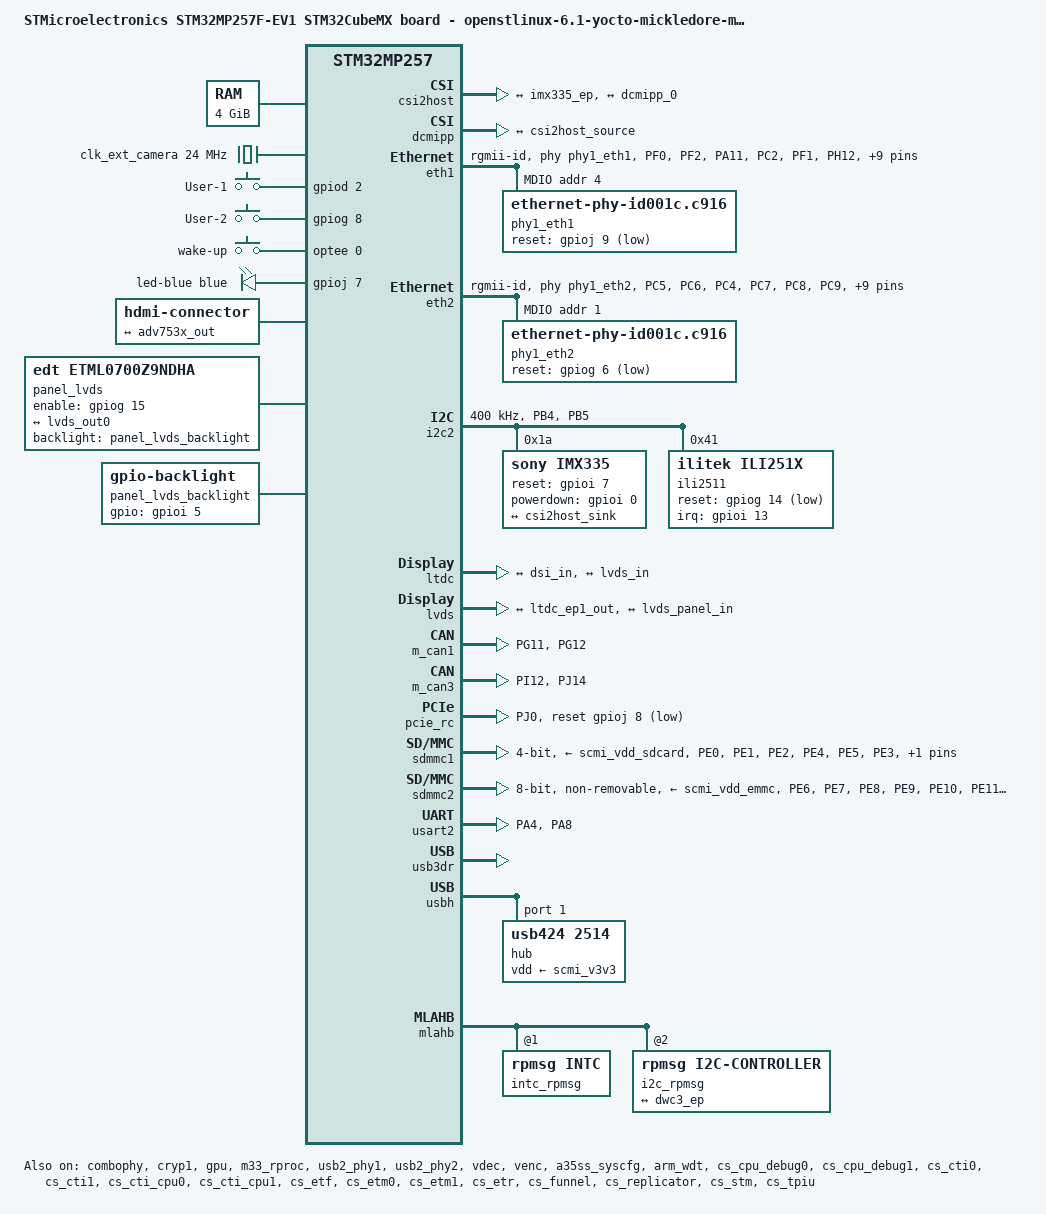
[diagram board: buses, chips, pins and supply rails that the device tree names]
// SPDX-License-Identifier: (GPL-2.0-or-later OR BSD-3-Clause)
/*
 * Copyright (C) 2024, STMicroelectronics - All Rights Reserved
 * Author: STM32CubeMX code generation for STMicroelectronics.
 */

/* For more information on Device Tree configuration, please refer to
 * https://wiki.st.com/stm32mpu/wiki/Category:Device_tree_configuration
 */

/dts-v1/;

#include <dt-bindings/pinctrl/stm32-pinfunc.h>
#include "stm32mp257.dtsi"
#include "stm32mp25xf.dtsi"
#include "stm32mp257f-ev1-mx-resmem.dtsi"
#include "stm32mp25xxai-pinctrl.dtsi"

/* USER CODE BEGIN includes */
#include "stm32mp25-pinctrl.dtsi"
#include <dt-bindings/gpio/gpio.h>
#include <dt-bindings/input/input.h>
#include <dt-bindings/leds/common.h>
#include <dt-bindings/regulator/st,stm32mp25-regulator.h>
/* USER CODE END includes */

/ {
	model = "STMicroelectronics STM32MP257F-EV1 STM32CubeMX board - openstlinux-6.1-yocto-mickledore-mpu-v24.06.26";
	compatible = "st,stm32mp257f-ev1-mx", "st,stm32mp257f-ev1", "st,stm32mp257";

	memory@80000000 {
		device_type = "memory";
		reg = <0x0 0x80000000 0x00000001 0x00000000>;

		/* USER CODE BEGIN memory */
		/* USER CODE END memory */
	};

	/* USER CODE BEGIN root */

	aliases{
		ethernet0 = &eth2;
		ethernet1 = &eth1;
		serial0 = &usart2;
		serial1 = &usart6;
		serial2 = &lpuart1;
	};

	chosen{
		stdout-path = "serial0:115200n8";
		#address-cells = <2>;
		#size-cells = <2>;
		ranges;
		framebuffer {
			compatible = "simple-framebuffer";
			clocks = <&rcc CK_BUS_LTDC>, <&rcc CK_KER_LTDC>,
				 <&rcc CK_BUS_LVDS>, <&rcc CK_KER_LVDSPHY>;
			status = "disabled";
		};
	};

	clocks{

		cec_clock:cec-clock{
			compatible = "fixed-clock";
			#clock-cells = <0>;
			clock-frequency = <12000000>;
		};

		clk_ext_camera:clk-ext-camera{
			#clock-cells = <0>;
			compatible = "fixed-clock";
			clock-frequency = <24000000>;
		};

		pad_clk:pad-clk{
			#clock-cells = <0>;
			compatible = "fixed-clock";
			clock-frequency = <100000000>;
		};
	};

	gpio-keys{
		compatible = "gpio-keys";

		button-user-1{
			label = "User-1";
			linux,code = <BTN_1>;
			gpios = <&gpiod 2 GPIO_ACTIVE_HIGH>;
			status = "okay";
		};

		button-user-2{
			label = "User-2";
			linux,code = <BTN_2>;
			gpios = <&gpiog 8 GPIO_ACTIVE_HIGH>;
			status = "okay";
		};

		button-wake-up{
			label = "wake-up";
			linux,code = <KEY_WAKEUP>;
			interrupts-extended = <&optee 0>;
			status = "okay";
		};
	};

	gpio-leds{
		compatible = "gpio-leds";

		led-blue{
			function = LED_FUNCTION_HEARTBEAT;
			color = <LED_COLOR_ID_BLUE>;
			gpios = <&gpioj 7 GPIO_ACTIVE_HIGH>;
			linux,default-trigger = "heartbeat";
			default-state = "off";
		};
	};

	hdmi:connector{
		compatible = "hdmi-connector";
		label = "hdmi";
		type = "a";

		port{

			hdmi_connector_in:endpoint{
				remote-endpoint = <&adv753x_out>;
			};
		};
	};
	panel_lvds:panel-lvds{
		compatible = "edt,etml0700z9ndha", "panel-lvds";
		enable-gpios = <&gpiog 15 GPIO_ACTIVE_HIGH>;
		backlight = <&panel_lvds_backlight>;
		status = "okay";
		width-mm = <156>;
		height-mm = <92>;
		data-mapping = "vesa-24";

		panel-timing{
			clock-frequency = <54000000>;
			hactive = <1024>;
			vactive = <600>;
			hfront-porch = <150>;
			hback-porch = <150>;
			hsync-len = <21>;
			vfront-porch = <24>;
			vback-porch = <24>;
			vsync-len = <21>;
		};

		port{

			lvds_panel_in:endpoint{
				remote-endpoint = <&lvds_out0>;
			};
		};
	};

	panel_lvds_backlight:panel-lvds-backlight{
		compatible = "gpio-backlight";
		gpios = <&gpioi 5 GPIO_ACTIVE_HIGH>;
		default-on;
		default-brightness-level = <1>;
		status = "okay";
	};
	panel_lvds_fhd: panel-lvds-fhd {
		compatible = "edt,etml0700z8dha", "panel-lvds";
		enable-gpios = <&gpiog 15 GPIO_ACTIVE_HIGH>;
		backlight = <&panel_lvds_fhd_backlight>;
		status = "disabled";

		width-mm = <156>;
		height-mm = <88>;
		data-mapping = "vesa-24";

		panel-timing {
			clock-frequency = <148437500>;
			hactive = <1920>;
			vactive = <1080>;
			hsync-len = <20>;
			hfront-porch = <130>;
			hback-porch = <130>;
			vfront-porch = <5>;
			vback-porch = <20>;
			vsync-len = <20>;
		};

		port {
			lvds_panel_fhd_in: endpoint {
			};
		};
	};

	panel_lvds_fhd_backlight: panel-lvds-fhd-backlight {
		compatible = "gpio-backlight";
		gpios = <&gpioi 5 GPIO_ACTIVE_LOW>;
		default-on;
		default-brightness-level = <0>;
		status = "disabled";
	};

	sound: sound {
		compatible = "audio-graph-card";
		label = "STM32MP25-EV1";
		dais = <&i2s2_port>;
		status = "disabled";
	};
	/* USER CODE END root */

}; /*root*/

&pinctrl {

	eth1_mdio_pins_mx: eth1_mdio_mx-0 {
		pins1 {
			pinmux = <STM32_PINMUX('F', 0, AF10)>; /* ETH1_MDC */
			bias-disable;
			drive-push-pull;
			slew-rate = <2>;
			st,io-clk-edge = <0>;
			st,io-retime = <0>;
			st,io-delay-path = <0>;
		};
		pins2 {
			pinmux = <STM32_PINMUX('F', 2, AF10)>; /* ETH1_MDIO */
			bias-disable;
			drive-push-pull;
			slew-rate = <0>;
			st,io-clk-edge = <0>;
			st,io-retime = <0>;
			st,io-delay-path = <0>;
		};
	};

	eth1_mdio_sleep_pins_mx: eth1_mdio_sleep_mx-0 {
		pins {
			pinmux = <STM32_PINMUX('F', 0, ANALOG)>, /* ETH1_MDC */
					 <STM32_PINMUX('F', 2, ANALOG)>; /* ETH1_MDIO */
		};
	};

	eth1_rgmii_pins_mx: eth1_rgmii_mx-0 {
		pins1 {
			pinmux = <STM32_PINMUX('A', 11, AF10)>, /* ETH1_RGMII_RX_CTL */
					 <STM32_PINMUX('C', 2, AF10)>, /* ETH1_RGMII_RXD1 */
					 <STM32_PINMUX('F', 1, AF10)>, /* ETH1_RGMII_RXD0 */
					 <STM32_PINMUX('H', 12, AF10)>, /* ETH1_RGMII_RXD2 */
					 <STM32_PINMUX('H', 13, AF10)>; /* ETH1_RGMII_RXD3 */
			bias-disable;
			drive-push-pull;
			st,io-clk-edge = <1>;
			st,io-retime = <1>;
			st,io-delay-path = <0>;
			st,io-delay = <0x0b0000>;
		};
		pins2 {
			pinmux = <STM32_PINMUX('A', 13, AF10)>, /* ETH1_RGMII_TX_CTL */
					 <STM32_PINMUX('A', 15, AF10)>, /* ETH1_RGMII_TXD0 */
					 <STM32_PINMUX('C', 1, AF10)>, /* ETH1_RGMII_TXD1 */
					 <STM32_PINMUX('H', 10, AF10)>, /* ETH1_RGMII_TXD2 */
					 <STM32_PINMUX('H', 11, AF10)>; /* ETH1_RGMII_TXD3 */
			bias-disable;
			drive-push-pull;
			slew-rate = <2>;
			st,io-clk-edge = <1>;
			st,io-retime = <1>;
			st,io-delay-path = <0>;
			st,io-delay = <0x0b0000>;
		};
		pins3 {
			pinmux = <STM32_PINMUX('A', 14, AF10)>; /* ETH1_RGMII_RX_CLK */
			bias-disable;
			drive-push-pull;
			slew-rate = <0>;
			st,io-clk-edge = <0>;
			st,io-retime = <0>;
			st,io-delay-path = <0>;
		};
		pins4 {
			pinmux = <STM32_PINMUX('C', 0, AF12)>; /* ETH1_RGMII_GTX_CLK */
			bias-disable;
			drive-push-pull;
			slew-rate = <1>;
			st,io-clk-edge = <0>;
			st,io-retime = <0>;
			st,io-delay-path = <0>;
			st,io-delay = <0x0b0000>;
		};
		pins5 {
			pinmux = <STM32_PINMUX('H', 9, AF10)>; /* ETH1_RGMII_CLK125 */
			bias-disable;
			drive-push-pull;
			slew-rate = <2>;
		};
	};

	eth1_rgmii_sleep_pins_mx: eth1_rgmii_sleep_mx-0 {
		pins {
			pinmux = <STM32_PINMUX('A', 11, ANALOG)>, /* ETH1_RGMII_RX_CTL */
					 <STM32_PINMUX('A', 13, ANALOG)>, /* ETH1_RGMII_TX_CTL */
					 <STM32_PINMUX('A', 14, ANALOG)>, /* ETH1_RGMII_RX_CLK */
					 <STM32_PINMUX('A', 15, ANALOG)>, /* ETH1_RGMII_TXD0 */
					 <STM32_PINMUX('C', 0, ANALOG)>, /* ETH1_RGMII_GTX_CLK */
					 <STM32_PINMUX('C', 1, ANALOG)>, /* ETH1_RGMII_TXD1 */
					 <STM32_PINMUX('C', 2, ANALOG)>, /* ETH1_RGMII_RXD1 */
					 <STM32_PINMUX('F', 1, ANALOG)>, /* ETH1_RGMII_RXD0 */
					 <STM32_PINMUX('H', 9, ANALOG)>, /* ETH1_RGMII_CLK125 */
					 <STM32_PINMUX('H', 10, ANALOG)>, /* ETH1_RGMII_TXD2 */
					 <STM32_PINMUX('H', 11, ANALOG)>, /* ETH1_RGMII_TXD3 */
					 <STM32_PINMUX('H', 12, ANALOG)>, /* ETH1_RGMII_RXD2 */
					 <STM32_PINMUX('H', 13, ANALOG)>; /* ETH1_RGMII_RXD3 */
		};
	};

	eth2_mdio_pins_mx: eth2_mdio_mx-0 {
		pins1 {
			pinmux = <STM32_PINMUX('C', 5, AF10)>; /* ETH2_MDIO */
			bias-disable;
			drive-push-pull;
			slew-rate = <0>;
			st,io-clk-edge = <0>;
			st,io-retime = <0>;
			st,io-delay-path = <0>;
		};
		pins2 {
			pinmux = <STM32_PINMUX('C', 6, AF10)>; /* ETH2_MDC */
			bias-disable;
			drive-push-pull;
			slew-rate = <2>;
			st,io-clk-edge = <0>;
			st,io-retime = <0>;
			st,io-delay-path = <0>;
		};
	};

	eth2_mdio_sleep_pins_mx: eth2_mdio_sleep_mx-0 {
		pins {
			pinmux = <STM32_PINMUX('C', 5, ANALOG)>, /* ETH2_MDIO */
					 <STM32_PINMUX('C', 6, ANALOG)>; /* ETH2_MDC */
		};
	};

	eth2_rgmii_pins_mx: eth2_rgmii_mx-0 {
		pins1 {
			pinmux = <STM32_PINMUX('C', 4, AF10)>, /* ETH2_RGMII_TX_CTL */
					 <STM32_PINMUX('C', 7, AF10)>, /* ETH2_RGMII_TXD0 */
					 <STM32_PINMUX('C', 8, AF10)>, /* ETH2_RGMII_TXD1 */
					 <STM32_PINMUX('C', 9, AF10)>, /* ETH2_RGMII_TXD2 */
					 <STM32_PINMUX('C', 10, AF10)>; /* ETH2_RGMII_TXD3 */
			bias-disable;
			drive-push-pull;
			slew-rate = <2>;
			st,io-clk-edge = <1>;
			st,io-retime = <1>;
			st,io-delay-path = <0>;
			st,io-delay = <0x0b0000>;
		};
		pins2 {
			pinmux = <STM32_PINMUX('C', 3, AF10)>, /* ETH2_RGMII_RX_CTL */
					 <STM32_PINMUX('C', 11, AF10)>, /* ETH2_RGMII_RXD3 */
					 <STM32_PINMUX('C', 12, AF10)>, /* ETH2_RGMII_RXD1 */
					 <STM32_PINMUX('F', 9, AF10)>, /* ETH2_RGMII_RXD2 */
					 <STM32_PINMUX('G', 0, AF10)>; /* ETH2_RGMII_RXD0 */
			bias-disable;
			drive-push-pull;
			st,io-clk-edge = <1>;
			st,io-retime = <1>;
			st,io-delay-path = <0>;
			st,io-delay = <0x0b0000>;
		};
		pins3 {
			pinmux = <STM32_PINMUX('F', 6, AF10)>; /* ETH2_RGMII_RX_CLK */
			bias-disable;
			drive-push-pull;
			slew-rate = <0>;
			st,io-clk-edge = <0>;
			st,io-retime = <0>;
			st,io-delay-path = <0>;
		};
		pins4 {
			pinmux = <STM32_PINMUX('F', 7, AF10)>; /* ETH2_RGMII_GTX_CLK */
			bias-disable;
			drive-push-pull;
			slew-rate = <1>;
			st,io-clk-edge = <0>;
			st,io-retime = <0>;
			st,io-delay-path = <0>;
			st,io-delay = <0x0b0000>;
		};
		pins5 {
			pinmux = <STM32_PINMUX('F', 8, AF10)>; /* ETH2_RGMII_CLK125 */
			bias-disable;
			drive-push-pull;
			slew-rate = <2>;
		};
	};

	eth2_rgmii_sleep_pins_mx: eth2_rgmii_sleep_mx-0 {
		pins {
			pinmux = <STM32_PINMUX('C', 3, ANALOG)>, /* ETH2_RGMII_RX_CTL */
					 <STM32_PINMUX('C', 4, ANALOG)>, /* ETH2_RGMII_TX_CTL */
					 <STM32_PINMUX('C', 7, ANALOG)>, /* ETH2_RGMII_TXD0 */
					 <STM32_PINMUX('C', 8, ANALOG)>, /* ETH2_RGMII_TXD1 */
					 <STM32_PINMUX('C', 9, ANALOG)>, /* ETH2_RGMII_TXD2 */
					 <STM32_PINMUX('C', 10, ANALOG)>, /* ETH2_RGMII_TXD3 */
					 <STM32_PINMUX('C', 11, ANALOG)>, /* ETH2_RGMII_RXD3 */
					 <STM32_PINMUX('C', 12, ANALOG)>, /* ETH2_RGMII_RXD1 */
					 <STM32_PINMUX('F', 6, ANALOG)>, /* ETH2_RGMII_RX_CLK */
					 <STM32_PINMUX('F', 7, ANALOG)>, /* ETH2_RGMII_GTX_CLK */
					 <STM32_PINMUX('F', 8, ANALOG)>, /* ETH2_RGMII_CLK125 */
					 <STM32_PINMUX('F', 9, ANALOG)>, /* ETH2_RGMII_RXD2 */
					 <STM32_PINMUX('G', 0, ANALOG)>; /* ETH2_RGMII_RXD0 */
		};
	};

	fdcan1_pins_mx: fdcan1_mx-0 {
		pins1 {
			pinmux = <STM32_PINMUX('G', 11, AF7)>; /* FDCAN1_TX */
			bias-disable;
			drive-push-pull;
			slew-rate = <0>;
		};
		pins2 {
			pinmux = <STM32_PINMUX('G', 12, AF7)>; /* FDCAN1_RX */
			bias-disable;
			drive-push-pull;
		};
	};

	fdcan1_sleep_pins_mx: fdcan1_sleep_mx-0 {
		pins {
			pinmux = <STM32_PINMUX('G', 11, ANALOG)>, /* FDCAN1_TX */
					 <STM32_PINMUX('G', 12, ANALOG)>; /* FDCAN1_RX */
		};
	};

	fdcan3_pins_mx: fdcan3_mx-0 {
		pins1 {
			pinmux = <STM32_PINMUX('I', 12, AF7)>; /* FDCAN3_RX */
			bias-disable;
			drive-push-pull;
		};
		pins2 {
			pinmux = <STM32_PINMUX('J', 14, AF7)>; /* FDCAN3_TX */
			bias-disable;
			drive-push-pull;
			slew-rate = <0>;
		};
	};

	fdcan3_sleep_pins_mx: fdcan3_sleep_mx-0 {
		pins {
			pinmux = <STM32_PINMUX('I', 12, ANALOG)>, /* FDCAN3_RX */
					 <STM32_PINMUX('J', 14, ANALOG)>; /* FDCAN3_TX */
		};
	};

	i2c2_pins_mx: i2c2_mx-0 {
		pins {
			pinmux = <STM32_PINMUX('B', 4, AF9)>, /* I2C2_SDA */
					 <STM32_PINMUX('B', 5, AF9)>; /* I2C2_SCL */
			bias-disable;
			drive-open-drain;
			slew-rate = <0>;
		};
	};

	i2c2_sleep_pins_mx: i2c2_sleep_mx-0 {
		pins {
			pinmux = <STM32_PINMUX('B', 4, ANALOG)>, /* I2C2_SDA */
					 <STM32_PINMUX('B', 5, ANALOG)>; /* I2C2_SCL */
		};
	};

	pcie_pins_mx: pcie_mx-0 {
		pins {
			pinmux = <STM32_PINMUX('J', 0, AF4)>; /* PCIE_CLKREQN */
			bias-disable;
			drive-push-pull;
			slew-rate = <0>;
		};
	};

	pcie_init_pins_mx: pcie_init_mx-0 {
		pins {
			pinmux = <STM32_PINMUX('J', 0, ANALOG)>; /* PCIE_CLKREQN */
		};
	};

	sdmmc1_pins_mx: sdmmc1_mx-0 {
		pins1 {
			pinmux = <STM32_PINMUX('E', 0, AF10)>, /* SDMMC1_D2 */
					 <STM32_PINMUX('E', 1, AF10)>, /* SDMMC1_D3 */
					 <STM32_PINMUX('E', 2, AF10)>, /* SDMMC1_CMD */
					 <STM32_PINMUX('E', 4, AF10)>, /* SDMMC1_D0 */
					 <STM32_PINMUX('E', 5, AF10)>; /* SDMMC1_D1 */
			bias-disable;
			drive-push-pull;
			slew-rate = <1>;
		};
		pins2 {
			pinmux = <STM32_PINMUX('E', 3, AF10)>; /* SDMMC1_CK */
			bias-disable;
			drive-push-pull;
			slew-rate = <3>;
		};
	};

	sdmmc1_opendrain_pins_mx: sdmmc1_opendrain_mx-0 {
		pins1 {
			pinmux = <STM32_PINMUX('E', 0, AF10)>, /* SDMMC1_D2 */
					 <STM32_PINMUX('E', 1, AF10)>, /* SDMMC1_D3 */
					 <STM32_PINMUX('E', 4, AF10)>, /* SDMMC1_D0 */
					 <STM32_PINMUX('E', 5, AF10)>; /* SDMMC1_D1 */
			bias-disable;
			drive-push-pull;
			slew-rate = <1>;
		};
		pins2 {
			pinmux = <STM32_PINMUX('E', 2, AF10)>; /* SDMMC1_CMD */
			bias-disable;
			drive-open-drain;
			slew-rate = <1>;
		};
		pins3 {
			pinmux = <STM32_PINMUX('E', 3, AF10)>; /* SDMMC1_CK */
			bias-disable;
			drive-push-pull;
			slew-rate = <3>;
		};
	};

	sdmmc1_sleep_pins_mx: sdmmc1_sleep_mx-0 {
		pins {
			pinmux = <STM32_PINMUX('E', 0, ANALOG)>, /* SDMMC1_D2 */
					 <STM32_PINMUX('E', 1, ANALOG)>, /* SDMMC1_D3 */
					 <STM32_PINMUX('E', 2, ANALOG)>, /* SDMMC1_CMD */
					 <STM32_PINMUX('E', 3, ANALOG)>, /* SDMMC1_CK */
					 <STM32_PINMUX('E', 4, ANALOG)>, /* SDMMC1_D0 */
					 <STM32_PINMUX('E', 5, ANALOG)>; /* SDMMC1_D1 */
		};
	};

	sdmmc2_pins_mx: sdmmc2_mx-0 {
		pins1 {
			pinmux = <STM32_PINMUX('E', 6, AF12)>, /* SDMMC2_D6 */
					 <STM32_PINMUX('E', 7, AF12)>, /* SDMMC2_D7 */
					 <STM32_PINMUX('E', 8, AF12)>, /* SDMMC2_D2 */
					 <STM32_PINMUX('E', 9, AF12)>, /* SDMMC2_D5 */
					 <STM32_PINMUX('E', 10, AF12)>, /* SDMMC2_D4 */
					 <STM32_PINMUX('E', 11, AF12)>, /* SDMMC2_D1 */
					 <STM32_PINMUX('E', 12, AF12)>, /* SDMMC2_D3 */
					 <STM32_PINMUX('E', 13, AF12)>, /* SDMMC2_D0 */
					 <STM32_PINMUX('E', 15, AF12)>; /* SDMMC2_CMD */
			bias-disable;
			drive-push-pull;
			slew-rate = <1>;
		};
		pins2 {
			pinmux = <STM32_PINMUX('E', 14, AF12)>; /* SDMMC2_CK */
			bias-disable;
			drive-push-pull;
			slew-rate = <3>;
		};
	};

	sdmmc2_opendrain_pins_mx: sdmmc2_opendrain_mx-0 {
		pins1 {
			pinmux = <STM32_PINMUX('E', 6, AF12)>, /* SDMMC2_D6 */
					 <STM32_PINMUX('E', 7, AF12)>, /* SDMMC2_D7 */
					 <STM32_PINMUX('E', 8, AF12)>, /* SDMMC2_D2 */
					 <STM32_PINMUX('E', 9, AF12)>, /* SDMMC2_D5 */
					 <STM32_PINMUX('E', 10, AF12)>, /* SDMMC2_D4 */
					 <STM32_PINMUX('E', 11, AF12)>, /* SDMMC2_D1 */
					 <STM32_PINMUX('E', 12, AF12)>, /* SDMMC2_D3 */
					 <STM32_PINMUX('E', 13, AF12)>; /* SDMMC2_D0 */
			bias-disable;
			drive-push-pull;
			slew-rate = <1>;
		};
		pins2 {
			pinmux = <STM32_PINMUX('E', 14, AF12)>; /* SDMMC2_CK */
			bias-disable;
			drive-push-pull;
			slew-rate = <3>;
		};
		pins3 {
			pinmux = <STM32_PINMUX('E', 15, AF12)>; /* SDMMC2_CMD */
			bias-disable;
			drive-open-drain;
			slew-rate = <1>;
		};
	};

	sdmmc2_sleep_pins_mx: sdmmc2_sleep_mx-0 {
		pins {
			pinmux = <STM32_PINMUX('E', 6, ANALOG)>, /* SDMMC2_D6 */
					 <STM32_PINMUX('E', 7, ANALOG)>, /* SDMMC2_D7 */
					 <STM32_PINMUX('E', 8, ANALOG)>, /* SDMMC2_D2 */
					 <STM32_PINMUX('E', 9, ANALOG)>, /* SDMMC2_D5 */
					 <STM32_PINMUX('E', 10, ANALOG)>, /* SDMMC2_D4 */
					 <STM32_PINMUX('E', 11, ANALOG)>, /* SDMMC2_D1 */
					 <STM32_PINMUX('E', 12, ANALOG)>, /* SDMMC2_D3 */
					 <STM32_PINMUX('E', 13, ANALOG)>, /* SDMMC2_D0 */
					 <STM32_PINMUX('E', 14, ANALOG)>, /* SDMMC2_CK */
					 <STM32_PINMUX('E', 15, ANALOG)>; /* SDMMC2_CMD */
		};
	};

	usart2_pins_mx: usart2_mx-0 {
		pins1 {
			pinmux = <STM32_PINMUX('A', 4, AF6)>; /* USART2_TX */
			bias-disable;
			drive-push-pull;
			slew-rate = <0>;
		};
		pins2 {
			pinmux = <STM32_PINMUX('A', 8, AF8)>; /* USART2_RX */
			bias-disable;
			drive-push-pull;
		};
	};

	usart2_idle_pins_mx: usart2_idle_mx-0 {
		pins1 {
			pinmux = <STM32_PINMUX('A', 4, ANALOG)>; /* USART2_TX */
		};
		pins2 {
			pinmux = <STM32_PINMUX('A', 8, AF8)>; /* USART2_RX */
			bias-disable;
			drive-push-pull;
		};
	};

	usart2_sleep_pins_mx: usart2_sleep_mx-0 {
		pins {
			pinmux = <STM32_PINMUX('A', 4, ANALOG)>, /* USART2_TX */
					 <STM32_PINMUX('A', 8, ANALOG)>; /* USART2_RX */
		};
	};

	/* USER CODE BEGIN pinctrl */
	/* USER CODE END pinctrl */
};

&pinctrl_z {
	/* USER CODE BEGIN pinctrl_z */
	/* USER CODE END pinctrl_z */
};

&combophy{
	status = "okay";

	/* USER CODE BEGIN combophy */
	clocks = <&rcc CK_BUS_USB3PCIEPHY>, <&rcc CK_KER_USB3PCIEPHY>, <&pad_clk>;
	clock-names = "apb-clk", "ker-clk", "pad-clk";
	st,rx_equalizer = <1>;
	/* USER CODE END combophy */
};

&cryp1{
	status = "okay";

	/* USER CODE BEGIN cryp1 */
	/* USER CODE END cryp1 */
};

&csi2host{
	status = "okay";

	/* USER CODE BEGIN csi2host */
	vdd-supply = <&scmi_vddcore>;
	vdda18-supply = <&scmi_v1v8>;

 
	ports{
		#address-cells = <1>;
		#size-cells = <0>;
 
		port@0{
			reg = <0>;
 
			csi2host_sink:endpoint{
				remote-endpoint = <&imx335_ep>;
				data-lanes = <0 1>;
				bus-type = <4>;
			};
		};
 
		port@1{
			reg = <1>;
 
			csi2host_source:endpoint{
				remote-endpoint = <&dcmipp_0>;
			};
		};
	};
	/* USER CODE END csi2host */
};

&dcmipp{
	status = "okay";

	/* USER CODE BEGIN dcmipp */
	port{

		dcmipp_0:endpoint{
			remote-endpoint = <&csi2host_source>;
			bus-type = <4>;
		};
	};
	/* USER CODE END dcmipp */
};

&eth1{
	pinctrl-names = "default", "sleep";
	pinctrl-0 = <&eth1_mdio_pins_mx>, <&eth1_rgmii_pins_mx>;
	pinctrl-1 = <&eth1_mdio_sleep_pins_mx>, <&eth1_rgmii_sleep_pins_mx>;
	status = "okay";

	/* USER CODE BEGIN eth1 */
	phy-mode = "rgmii-id";
	max-speed = <1000>;
	phy-handle = <&phy1_eth1>;
	st,eth-clk-sel;
	snps,ext-systime;

	mdio1{
		#address-cells = <1>;
		#size-cells = <0>;
		compatible = "snps,dwmac-mdio";

		phy1_eth1:ethernet-phy@4{
			compatible = "ethernet-phy-id001c.c916";
			reset-gpios = <&gpioj 9 GPIO_ACTIVE_LOW>;
			reset-assert-us = <10000>;
			reset-deassert-us = <80000>;
			realtek,eee-disable;
			reg = <4>;
		};
	};
	/* USER CODE END eth1 */
};

&eth2{
	pinctrl-names = "default", "sleep";
	pinctrl-0 = <&eth2_mdio_pins_mx>, <&eth2_rgmii_pins_mx>;
	pinctrl-1 = <&eth2_mdio_sleep_pins_mx>, <&eth2_rgmii_sleep_pins_mx>;
	status = "okay";

	/* USER CODE BEGIN eth2 */
	phy-mode = "rgmii-id";
	max-speed = <1000>;
	phy-handle = <&phy1_eth2>;
	st,eth-ptp-from-rcc;

	mdio1{
		#address-cells = <1>;
		#size-cells = <0>;
		compatible = "snps,dwmac-mdio";

		phy1_eth2:ethernet-phy@1{
			compatible = "ethernet-phy-id001c.c916";
			reset-gpios = <&gpiog 6 GPIO_ACTIVE_LOW>;
			reset-assert-us = <10000>;
			reset-deassert-us = <80000>;
			realtek,eee-disable;
			reg = <1>;
		};
	};
	/* USER CODE END eth2 */
};

&gpu{
	status = "okay";

	/* USER CODE BEGIN gpu */
	contiguous-area = <&gpu_reserved>;
	/* USER CODE END gpu */
};

&hpdma{
	status = "okay";

	/* USER CODE BEGIN hpdma */
	memory-region = <&hpdma1_lli>;
	/* USER CODE END hpdma */
};

&hpdma2{
	status = "okay";

	/* USER CODE BEGIN hpdma2 */
	memory-region = <&hpdma2_lli>;
	/* USER CODE END hpdma2 */
};

&hpdma3{
	status = "okay";

	/* USER CODE BEGIN hpdma3 */
	memory-region = <&hpdma3_lli>;
	/* USER CODE END hpdma3 */
};

&i2c2{
	pinctrl-names = "default", "sleep";
	pinctrl-0 = <&i2c2_pins_mx>;
	pinctrl-1 = <&i2c2_sleep_pins_mx>;
	status = "okay";

	/* USER CODE BEGIN i2c2 */
	i2c-scl-rising-time-ns = <100>;
	i2c-scl-falling-time-ns = <13>;
	clock-frequency = <400000>;
	/delete-property/ dmas;
	/delete-property/ dma-names;

	imx335:imx335@1a{
		compatible = "sony,imx335";
		reg = <0x1a>;
		clocks = <&clk_ext_camera>;
		reset-gpios = <&gpioi 7 (GPIO_ACTIVE_HIGH | GPIO_PUSH_PULL)>;
		powerdown-gpios = <&gpioi 0 (GPIO_ACTIVE_HIGH | GPIO_PUSH_PULL)>;
		status = "okay";

		port{

			imx335_ep:endpoint{
				remote-endpoint = <&csi2host_sink>;
				clock-lanes = <0>;
				data-lanes = <1 2>;
				link-frequencies = /bits/ 64 <594000000>;
			};
		};
	};
	adv753x: hdmi@3d {
		/*
		 * With MB1232 board, use "adi,adv7533" (1080p30)
		 * With MB1752 board, use "adi,adv7535" (1080p60)
		 */
		compatible = "adi,adv7533";
		reg = <0x3d>, <0x3c>, <0x3f>, <0x38>;
		reg-names = "main", "cec", "edid", "packet";
		clocks = <&cec_clock>;
		clock-names = "cec";
		interrupt-parent = <&gpiod>;
		interrupts = <10 IRQ_TYPE_EDGE_FALLING>;
		status = "disabled";
		adi,dsi-lanes = <4>;
		reset-gpios = <&gpiog 14 GPIO_ACTIVE_LOW>;
		avdd-supply = <&scmi_v1v8>;
		dvdd-supply = <&scmi_v1v8>;
		pvdd-supply = <&scmi_v1v8>;
		a2vdd-supply = <&scmi_v1v8>;
		v3p3-supply = <&scmi_v3v3>;
		v1p2-supply = <&scmi_v1v8>;

		ports {
			#address-cells = <1>;
			#size-cells = <0>;

			port@0 {
				reg = <0>;
				adv753x_in: endpoint {
					remote-endpoint = <&dsi_out1>;
				};
			};

			port@1 {
				reg = <1>;
				adv753x_out: endpoint {
					remote-endpoint = <&hdmi_connector_in>;
				};
			};

			port@2 {
				reg = <2>;
				adv753x_tx_endpoint: endpoint {
					remote-endpoint = <&i2s2_endpoint>;
				};
			};
		};
	};
	ili2511:ili2511@41{
		compatible = "ilitek,ili251x";
		reg = <0x41>;
		interrupt-parent = <&gpioi>;
		interrupts = <13 IRQ_TYPE_EDGE_FALLING>;
		reset-gpios = <&gpiog 14 GPIO_ACTIVE_LOW>;
		status = "okay";
	};
	/* USER CODE END i2c2 */
};

&ltdc{
	status = "okay";

	/* USER CODE BEGIN ltdc */
	default-on;
	rotation-memory = <&ltdc_sec_rotation>;

	port{
		#address-cells = <1>;
		#size-cells = <0>;

		ltdc_ep0_out:endpoint@0{
			reg = <0>;
			remote-endpoint = <&dsi_in>;
		};

		ltdc_ep1_out:endpoint@1{
			reg = <1>;
			remote-endpoint = <&lvds_in>;
		};
	};
	/* USER CODE END ltdc */
};

&lvds{
	status = "okay";

	/* USER CODE BEGIN lvds */
	default-on;
	vdd-supply = <&scmi_vddcore>;
	vdda18-supply = <&scmi_v1v8>;

	ports{
		#address-cells = <1>;
		#size-cells = <0>;

		port@0{
			reg = <0>;

			lvds_in:endpoint{
				remote-endpoint = <&ltdc_ep1_out>;
			};
		};

		port@1{
			reg = <1>;

			lvds_out0:endpoint{
				remote-endpoint = <&lvds_panel_in>;
			};
		};
	};
	/* USER CODE END lvds */
};

&m_can1{
	pinctrl-names = "default", "sleep";
	pinctrl-0 = <&fdcan1_pins_mx>;
	pinctrl-1 = <&fdcan1_sleep_pins_mx>;
	status = "okay";

	/* USER CODE BEGIN m_can1 */
	/* USER CODE END m_can1 */
};

&m_can3{
	pinctrl-names = "default", "sleep";
	pinctrl-0 = <&fdcan3_pins_mx>;
	pinctrl-1 = <&fdcan3_sleep_pins_mx>;
	status = "okay";

	/* USER CODE BEGIN m_can3 */
	/* USER CODE END m_can3 */
};

&m33_rproc{
	status = "okay";

	/* USER CODE BEGIN m33_rproc */
	compatible = "st,stm32mp2-m33-tee";
	mboxes = <&ipcc1 0x100>, <&ipcc1 0x101>, <&ipcc1 2>;
	mbox-names = "vq0", "vq1", "shutdown";
	memory-region = <&ipc_shmem_1>, <&vdev0vring0>,
			<&vdev0vring1>, <&vdev0buffer>,
			<&cm33_sram2>;
	/* USER CODE END m33_rproc */
};

&pcie_rc{
	pinctrl-names = "default", "init";
	pinctrl-0 = <&pcie_pins_mx>;
	pinctrl-1 = <&pcie_init_pins_mx>;
	status = "okay";

	/* USER CODE BEGIN pcie_rc */
	reset-gpios = <&gpioj 8 GPIO_ACTIVE_LOW>;
	wakeup-source;
	wake-gpios = <&gpioh 5 (GPIO_ACTIVE_LOW | GPIO_PULL_UP)>;
	/* USER CODE END pcie_rc */
};

&sdmmc1{
	pinctrl-names = "default", "opendrain", "sleep";
	pinctrl-0 = <&sdmmc1_pins_mx>;
	pinctrl-1 = <&sdmmc1_opendrain_pins_mx>;
	pinctrl-2 = <&sdmmc1_sleep_pins_mx>;
	status = "okay";

	/* USER CODE BEGIN sdmmc1 */
	cd-gpios = <&gpiod 9 (GPIO_ACTIVE_LOW | GPIO_PULL_UP)>;
	disable-wp;
	st,neg-edge;
	bus-width = <4>;
	vmmc-supply = <&scmi_vdd_sdcard>;
	vqmmc-supply = <&scmi_vddio1>;
	sd-uhs-sdr12;
	sd-uhs-sdr25;
	sd-uhs-sdr50;
	sd-uhs-ddr50;
	sd-uhs-sdr104;
	/* USER CODE END sdmmc1 */
};

&sdmmc2{
	pinctrl-names = "default", "opendrain", "sleep";
	pinctrl-0 = <&sdmmc2_pins_mx>;
	pinctrl-1 = <&sdmmc2_opendrain_pins_mx>;
	pinctrl-2 = <&sdmmc2_sleep_pins_mx>;
	status = "okay";

	/* USER CODE BEGIN sdmmc2 */
	non-removable;
	no-sd;
	no-sdio;
	st,neg-edge;
	bus-width = <8>;
	vmmc-supply = <&scmi_vdd_emmc>;
	vqmmc-supply = <&scmi_vddio2>;
	mmc-ddr-1_8v;
	mmc-hs200-1_8v;
	/* USER CODE END sdmmc2 */
};

&usart2{
	pinctrl-names = "default", "idle", "sleep";
	pinctrl-0 = <&usart2_pins_mx>;
	pinctrl-1 = <&usart2_idle_pins_mx>;
	pinctrl-2 = <&usart2_sleep_pins_mx>;
	status = "okay";

	/* USER CODE BEGIN usart2 */
	/delete-property/ dmas;
	/delete-property/ dma-names;
	/* USER CODE END usart2 */
};

&usb2_phy1{
	status = "okay";

	/* USER CODE BEGIN usb2_phy1 */
	/* USER CODE END usb2_phy1 */
};

&usb2_phy2{
	status = "okay";

	/* USER CODE BEGIN usb2_phy2 */
	vdd33-supply = <&scmi_vdd3v3_usb>;
	/* USER CODE END usb2_phy2 */
};

&usb3dr{
	status = "okay";

	/* USER CODE BEGIN usb3dr */

	dwc3:usb@48300000{
		maximum-speed = "high-speed";
		usb-role-switch;

		port{

			dwc3_ep:endpoint{
				remote-endpoint = <&typec_ep>;
			};
		};
	};
	/* USER CODE END usb3dr */
};

&usbh{
	status = "okay";

	/* USER CODE BEGIN usbh */
	usbh_ehci:usb@482f0000{
		#address-cells = <1>;
		#size-cells = <0>;

		hub@1{
			compatible = "usb424,2514";
			reg = <1>;
			vdd-supply = <&scmi_v3v3>;
		};
	};
	/* USER CODE END usbh */
};

&vdec{
	status = "okay";

	/* USER CODE BEGIN vdec */
	/* USER CODE END vdec */
};

&venc{
	status = "okay";

	/* USER CODE BEGIN venc */
	/* USER CODE END venc */
};

/* USER CODE BEGIN addons */

&a35ss_syscfg{
	status = "okay";
};

&arm_wdt{
	timeout-sec = <32>;
	status = "okay";
};

&cs_cpu_debug0{
	status = "okay";
};

&cs_cpu_debug1{
	status = "okay";
};

&cs_cti0{
	status = "okay";
};

&cs_cti1{
	status = "okay";
};

&cs_cti_cpu0{
	status = "okay";
};

&cs_cti_cpu1{
	status = "okay";
};

&cs_etf{
	status = "okay";
};

&cs_etm0{
	status = "okay";
};

&cs_etm1{
	status = "okay";
};

&cs_etr{
	status = "okay";
};

&cs_funnel{
	status = "okay";
};

&cs_replicator{
	status = "okay";
};

&cs_stm{
	status = "okay";
};

&cs_tpiu{
	status = "okay";
};

&dsi{
	status = "disabled";
	vdd-supply = <&scmi_vddcore>;
	vdda18-supply = <&scmi_v1v8>;

	ports{
		#address-cells = <1>;
		#size-cells = <0>;

		port@0{
			reg = <0>;

			dsi_in:endpoint{
				remote-endpoint = <&ltdc_ep0_out>;
			};
		};

		port@1{
			reg = <1>;

			dsi_out1:endpoint{
				remote-endpoint = <&adv753x_in>;
			};
		};
	};
};


&i2s2 {
	status = "disabled";

	i2s2_port: port {
		i2s2_endpoint: endpoint {
			remote-endpoint = <&adv753x_tx_endpoint>;
			format = "i2s";
			mclk-fs = <256>;
		};
	};
};
&mlahb{

	intc_rpmsg:interrupt-controller@1{
		compatible = "rpmsg,intc";
		reg = <1 0>;
		#interrupt-cells = <1>;
		interrupt-controller;
	};

	i2c_rpmsg:i2c@2{
		compatible = "rpmsg,i2c-controller";
		reg = <2 0>;
		rpmsg,dev-id = "rpmsg_i2c";
		#address-cells = <1>;
		#size-cells = <0>;
		status = "okay";

		typec@35{
			compatible = "st,stm32mp25-typec";
			reg = <0x35>;
			interrupts-extended = <&intc_rpmsg 0>;
			status = "okay";

			connector{
				compatible = "usb-c-connector";
				label = "USB-C";

				port{

					typec_ep:endpoint{
						remote-endpoint = <&dwc3_ep>;
					};
				};
			};
		};
	};
};

&scmi_regu{

	scmi_vddio1:regulator@0{
		regulator-min-microvolt = <1800000>;
		regulator-max-microvolt = <3300000>;
	};

	scmi_vddcore:regulator@11{
		reg = <VOLTD_SCMI_STPMIC2_BUCK2>;
		regulator-name = "vddcore";
	};

	scmi_v1v8:regulator@14{
		reg = <VOLTD_SCMI_STPMIC2_BUCK5>;
		regulator-name = "v1v8";
	};

	scmi_v3v3:regulator@16{
		reg = <VOLTD_SCMI_STPMIC2_BUCK7>;
		regulator-name = "v3v3";
	};

	scmi_vdd_emmc:regulator@18{
		reg = <VOLTD_SCMI_STPMIC2_LDO2>;
		regulator-name = "vdd_emmc";
	};

	scmi_vdd3v3_usb:regulator@20{
		reg = <VOLTD_SCMI_STPMIC2_LDO4>;
		regulator-name = "vdd3v3_usb";
	};

	scmi_vdd_sdcard:regulator@23{
		reg = <VOLTD_SCMI_STPMIC2_LDO7>;
		regulator-name = "vdd_sdcard";
	};
};

&usb2_phy1{
	vdd33-supply = <&scmi_vdd3v3_usb>;
	status = "okay";
};


&usart2_pins_mx{
	u-boot,dm-pre-reloc;

	pins1{
		u-boot,dm-pre-reloc;
	};

	pins2{
		u-boot,dm-pre-reloc;
	};
};



&usart2_pins_mx{
	u-boot,dm-pre-reloc;

	pins1{
		u-boot,dm-pre-reloc;
	};

	pins2{
		u-boot,dm-pre-reloc;
	};
};

/* USER CODE END addons */

